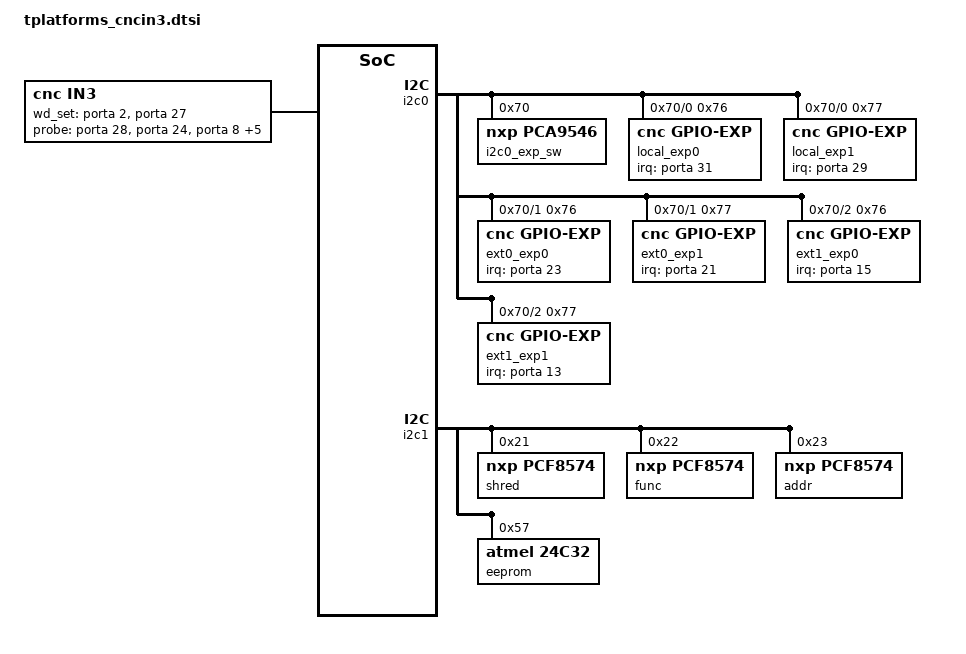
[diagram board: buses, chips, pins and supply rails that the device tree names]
/*
 * Baikal-T/T1 CNC IN v3 board device tree
 *
 * Copyright (C) 2018 T-platforms JSC
 *
 * This program is free software; you can redistribute it and/or
 * modify it under the terms of the GNU General Public License
 * as published by the Free Software Foundation; either version 2
 * of the License, or (at your option) any later version.
 */

/ {
	/* Reserve memory regions for CMA and NTB */
	reserved-memory {
		#address-cells = <2>;
		#size-cells = <2>;
		ranges;

		/* Reserve 16MB for CMA-based allocations */
		cma: buffer@0 {
			compatible = "shared-dma-pool";
			alloc-ranges = <0 0x01000000 0 0x05000000>;
			size = <0 0x1000000>;
			alignment = <0 0x1000000>;
			reusable; /* specific for CMA */
		};
	};

	/* CNC IN v3 board platform device */
	cnc {
		compatible = "cnc,in3", "cnc,in", "cnc,board";
		#address-cells = <1>;
		#size-cells = <0>;

		memory-region = <&cma>;
		board_info = <&shred>;
		board_addr = <&addr>;
		board_func = <&func>;

		wd_set-gpios = <&porta 2  GPIO_ACTIVE_HIGH>, /* wd_set pin */
			       <&porta 27 GPIO_ACTIVE_HIGH>; /* wd_in  pin */

		probe-gpios = <&porta 28 GPIO_ACTIVE_HIGH>, /* Probe input #24 */
			      <&porta 24 GPIO_ACTIVE_HIGH>, /* Probe input #25 */
			      <&porta 8  GPIO_ACTIVE_HIGH>, /* Probe input #26 */
			      <&porta 20 GPIO_ACTIVE_HIGH>, /* Probe input #27 */
			      <&porta 19 GPIO_ACTIVE_HIGH>, /* Probe input #28 */
			      <&porta 17 GPIO_ACTIVE_HIGH>, /* Probe input #29 */
			      <&porta 10 GPIO_ACTIVE_HIGH>, /* Probe input #30 */
			      <&porta 18 GPIO_ACTIVE_HIGH>; /* Probe input #31 */

		/* Local expanders (must always exist) */
		slave@0 {
			reg = <0>;
			dev = <&local_exp0 &local_exp1 GPIO_ACTIVE_LOW>;
		};

		/* First slave expanders */
		slave@1 {
			reg = <1>;
			dev = <&ext0_exp0 &ext0_exp1 GPIO_ACTIVE_LOW>;
		};

		/* Second slave expanders */
		slave@2 {
			reg = <2>;
			dev = <&ext1_exp0 &ext1_exp1 GPIO_ACTIVE_LOW>;
		};
	};
};

&usb {
	status = "disabled";
};

&sata {
	status = "disabled";
};

&mdio0 {
	status = "disabled";
};

&xgmac {
	status = "disabled";
};

&gmac0 {
	status = "disabled";
};

&gmac1 {
	status = "disabled";
};

/*
 * Relay/DescreteIn GPIO-expanders are placed right on i2c0 for early
 * developed boards and under i2c0 subbuses for rev.3 and newer.
 */
&i2c0 {
	status = "okay";

	/* Switch is available on rev.3 boards only */
	i2c0_exp_sw@70 {
		compatible = "nxp,pca9546";
		reg = <0x70>;
		#address-cells = <1>;
		#size-cells = <0>;
		idle-state = <3>; /* Unused channel is connected on idle */

		/* Bus #2 with local GPIO-expanders */
		local_exp_smb: i2c0_exp@0 {
			reg = <0>;
			#address-cells = <1>;
			#size-cells = <0>;

			local_exp0: gpioexp@76 {
				/*compatible = "nxp,pca9539";*/
				compatible = "cnc,gpio-exp";
				reg = <0x76>;
				gpio-controller;
				#gpio-cells = <2>;
				interrupt-parent = <&porta>;
				interrupts = <31 GPIO_ACTIVE_HIGH>;
				interrupt-controller;
				#interrupt-cells = <2>;
				ngpios = <16>; /* Informative */
			};

			local_exp1: gpioexp@77 {
				/*compatible = "nxp,pca9539";*/
				compatible = "cnc,gpio-exp";
				reg = <0x77>;
				gpio-controller;
				#gpio-cells = <2>;
				interrupt-parent = <&porta>;
				interrupts = <29 GPIO_ACTIVE_HIGH>;
				interrupt-controller;
				#interrupt-cells = <2>;
				ngpios = <16>; /* Informative */
			};
		};

		/* Bus #3 with external GPIO-expanders */
		ext0_exp_smb: i2c0_exp@1 {
			reg = <1>;
			#address-cells = <1>;
			#size-cells = <0>;

			ext0_exp0: gpioexp@76 {
				/*compatible = "nxp,pca9539";*/
				compatible = "cnc,gpio-exp";
				reg = <0x76>;
				gpio-controller;
				#gpio-cells = <2>;
				interrupt-parent = <&porta>;
				interrupts = <23 GPIO_ACTIVE_HIGH>;
				interrupt-controller;
				#interrupt-cells = <2>;
				ngpios = <16>; /* Informative */
			};

			ext0_exp1: gpioexp@77 {
				/*compatible = "nxp,pca9539";*/
				compatible = "cnc,gpio-exp";
				reg = <0x77>;
				gpio-controller;
				#gpio-cells = <2>;
				interrupt-parent = <&porta>;
				interrupts = <21 GPIO_ACTIVE_HIGH>;
				interrupt-controller;
				#interrupt-cells = <2>;
				ngpios = <16>; /* Informative */
			};
		};

		/* Bus #4 with external GPIO-expanders */
		ext1_exp_smb: i2c0_exp@2 {
			reg = <2>;
			#address-cells = <1>;
			#size-cells = <0>;

			ext1_exp0: gpioexp@76 {
				/*compatible = "nxp,pca9539";*/
				compatible = "cnc,gpio-exp";
				reg = <0x76>;
				gpio-controller;
				#gpio-cells = <2>;
				interrupt-parent = <&porta>;
				interrupts = <15 GPIO_ACTIVE_HIGH>;
				interrupt-controller;
				#interrupt-cells = <2>;
				ngpios = <16>; /* Informative */
			};

			ext1_exp1: gpioexp@77 {
				/*compatible = "nxp,pca9539";*/
				compatible = "cnc,gpio-exp";
				reg = <0x77>;
				gpio-controller;
				#gpio-cells = <2>;
				interrupt-parent = <&porta>;
				interrupts = <13 GPIO_ACTIVE_HIGH>;
				interrupt-controller;
				#interrupt-cells = <2>;
				ngpios = <16>; /* Informative */
			};
		};
	};
};

/* Board settings devices */
&i2c1 {
	status = "okay";

	shred: gpio@21 {
		compatible = "nxp,pcf8574";
		reg = <0x21>;
		gpio-controller;
		#gpio-cells = <2>;
		ngpios = <8>; /* Informative */
	};

	func: gpio@22 {
		compatible = "nxp,pcf8574";
		reg = <0x22>;
		gpio-controller;
		#gpio-cells = <2>;
		ngpios = <8>; /* Informative */
	};

	addr: gpio@23 {
		compatible = "nxp,pcf8574";
		reg = <0x23>;
		gpio-controller;
		#gpio-cells = <2>;
		ngpios = <8>; /* Informative */
	};

        eeprom@57 {
                compatible = "atmel,24c32";
                reg = <0x57>;
                pagesize = <16>;
        };
};

&uart1 {
	status = "disabled";
};

&spi0 {
	status = "disabled";
};

&spi1 {
	status = "disabled";
};
